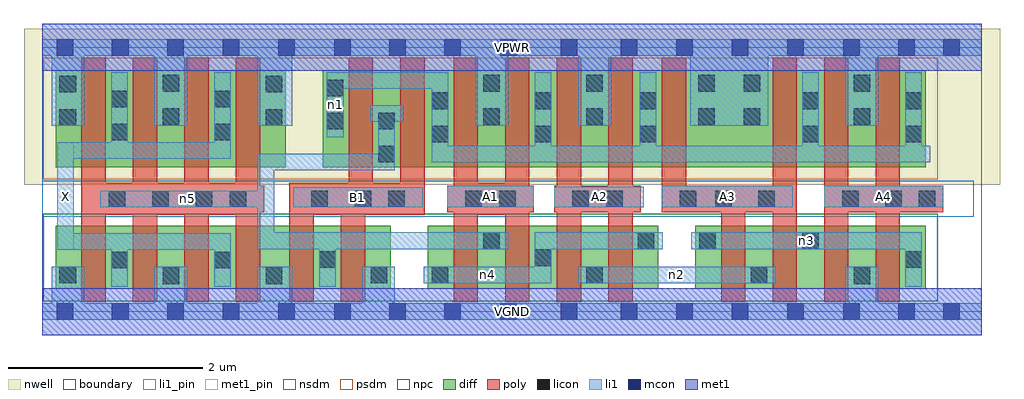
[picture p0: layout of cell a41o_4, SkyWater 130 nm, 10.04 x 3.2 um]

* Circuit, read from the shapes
.subckt a41o_4 A1 A2 A3 A4 B1 VGND VPWR X n1 n2 n3 n4 n5
XM1 X n5 VGND VSUBS sky130_fd_pr__nfet_01v8 w=0.65 l=0.25 m=4
XM2 n5 B1 VGND VSUBS sky130_fd_pr__nfet_01v8 w=0.65 l=0.25 m=2
XM3 n5 A1 n4 VSUBS sky130_fd_pr__nfet_01v8 w=0.65 l=0.25 m=2
XM4 n2 A2 n4 VSUBS sky130_fd_pr__nfet_01v8 w=0.65 l=0.25 m=2
XM5 n2 A3 n3 VSUBS sky130_fd_pr__nfet_01v8 w=0.65 l=0.25 m=2
XM6 VGND A4 n3 VSUBS sky130_fd_pr__nfet_01v8 w=0.65 l=0.25 m=2
XM7 X n5 VPWR n6 sky130_fd_pr__pfet_01v8 w=1 l=0.25 m=4
XM8 n5 B1 n1 n6 sky130_fd_pr__pfet_01v8 w=1 l=0.25 m=2
XM9 VPWR A1 n1 n6 sky130_fd_pr__pfet_01v8 w=1 l=0.25 m=2
XM10 VPWR A2 n1 n6 sky130_fd_pr__pfet_01v8 w=1 l=0.25 m=2
XM11 VPWR A3 n1 n6 sky130_fd_pr__pfet_01v8 w=1 l=0.25 m=2
XM12 VPWR A4 n1 n6 sky130_fd_pr__pfet_01v8 w=1 l=0.25 m=2
.ends

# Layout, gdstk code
import gdstk
lib = gdstk.Library(unit=1e-6, precision=1e-09)
def R(c, l, rs):  # rectangles x0, y0, x1, y1
    for r in rs: c.add(gdstk.rectangle(r[:2], r[2:], *l))
def A(c, l, x, y, w, h, nx, ny, dx, dy):  # array of equal rectangles
    R(c, l, [(x+i*dx, y+j*dy, x+i*dx+w, y+j*dy+h) for i in range(nx) for j in range(ny)])
nwell = (64, 20)
diff = (65, 20)
poly = (66, 20)
licon = (66, 44)
li1_pin = (67, 16)
li1 = (67, 20)
mcon = (67, 44)
met1_pin = (68, 16)
met1 = (68, 20)
nsdm = (93, 44)
psdm = (94, 20)
npc = (95, 20)
boundary = (235, 4)

a41o_4 = lib.new_cell('a41o_4')
R(a41o_4, nwell, [(-0.19,1.305,9.85,2.91), (0,1.305,9.66,2.91)])
R(a41o_4, diff, [(0.135,0.235,3.585,0.885), (3.965,0.235,6.335,0.885), (6.715,0.235,9.085,0.885), (0.135,1.485,2.505,2.485), (2.885,1.485,9.085,2.485)])
A(a41o_4, poly, 0.4, 0.105, 0.25, 2.51, 4, 1, 0.53, 0)
A(a41o_4, poly, 4.23, 0.105, 0.25, 2.51, 4, 1, 0.53, 0)
A(a41o_4, poly, 7.51, 0.105, 0.25, 2.51, 3, 1, 0.53, 0)
R(a41o_4, poly, [(2.54,0.105,2.79,1.325), (3.07,0.105,3.32,1.325), (6.98,0.105,7.23,1.295), (0.4,0.995,2.24,1.325), (2.54,0.995,3.93,1.325), (3.15,0.995,3.4,2.615), (3.68,0.995,3.93,2.615), (4.23,0.995,5.01,1.325), (0.4,1.025,2.28,1.295), (4.165,1.025,5.055,1.295), (5.265,1.025,6.155,1.295), (6.37,1.025,7.76,1.295), (6.37,1.025,6.62,2.615), (8.04,1.025,9.265,1.295)])
R(a41o_4, licon, [(1.235,0.285,1.405,0.455), (2.295,0.285,2.465,0.455), (8.345,0.285,8.515,0.455), (0.175,0.295,0.345,0.465), (3.375,0.295,3.545,0.465), (4.005,0.295,4.175,0.465), (5.595,0.295,5.765,0.465), (7.285,0.295,7.455,0.465), (0.705,0.445,0.875,0.615), (1.765,0.445,1.935,0.615), (2.845,0.45,3.015,0.62), (8.875,0.45,9.045,0.62), (5.065,0.47,5.235,0.64), (4.535,0.645,4.705,0.815), (6.125,0.645,6.295,0.815), (6.755,0.645,6.925,0.815), (7.815,0.645,7.985,0.815), (0.68,1.075,0.85,1.245), (1.13,1.075,1.3,1.245), (1.575,1.075,1.745,1.245), (1.925,1.075,2.095,1.245), (2.765,1.075,2.935,1.245), (3.21,1.075,3.38,1.245), (3.555,1.075,3.725,1.245), (4.35,1.075,4.52,1.245), (4.7,1.075,4.87,1.245), (5.45,1.075,5.62,1.245), (5.8,1.075,5.97,1.245), (6.555,1.075,6.725,1.245), (6.92,1.075,7.09,1.245), (7.365,1.075,7.535,1.245), (8.225,1.075,8.395,1.245), (8.67,1.075,8.84,1.245), (9.015,1.075,9.185,1.245), (3.455,1.535,3.625,1.705), (4.005,1.745,4.175,1.915), (5.065,1.745,5.235,1.915), (6.145,1.745,6.315,1.915), (7.815,1.745,7.985,1.915), (8.875,1.745,9.045,1.915), (0.705,1.765,0.875,1.935), (1.765,1.765,1.935,1.935), (2.925,1.875,3.095,2.045), (3.455,1.875,3.625,2.045), (0.175,1.915,0.345,2.085), (2.295,1.915,2.465,2.085), (1.235,1.925,1.405,2.095), (4.535,1.925,4.705,2.095), (5.595,1.925,5.765,2.095), (6.745,1.925,6.915,2.095), (7.215,1.925,7.385,2.095), (8.345,1.925,8.515,2.095), (4.005,2.085,4.175,2.255), (5.065,2.085,5.235,2.255), (6.145,2.085,6.315,2.255), (7.815,2.085,7.985,2.255), (8.875,2.085,9.045,2.255), (0.705,2.105,0.875,2.275), (1.765,2.105,1.935,2.275), (2.925,2.215,3.095,2.385), (0.175,2.255,0.345,2.425), (2.295,2.255,2.465,2.425), (1.235,2.265,1.405,2.435), (4.535,2.265,4.705,2.435), (5.595,2.265,5.765,2.435), (6.745,2.265,6.915,2.435), (7.215,2.265,7.385,2.435), (8.345,2.265,8.515,2.435)])
R(a41o_4, li1_pin, [(0.15,0.635,0.32,1.745), (2.58,1.075,3.91,1.28), (4.165,1.075,5.055,1.295), (5.265,1.075,6.185,1.285), (6.37,1.075,7.72,1.295), (8.04,1.075,9.265,1.295)])
R(a41o_4, li1, [(0,-0.085,9.66,0.085), (0.095,-0.085,0.43,0.465), (1.15,-0.085,1.49,0.465), (2.21,-0.085,2.57,0.465), (3.29,-0.085,3.625,0.465), (8.26,-0.085,8.6,0.465), (0.705,0.255,0.875,0.805), (1.765,0.255,1.935,0.805), (2.845,0.255,3.015,0.815), (8.875,0.255,9.045,0.815), (3.92,0.295,5.235,0.465), (5.065,0.295,5.235,0.815), (5.51,0.295,7.54,0.465), (0.15,0.635,1.935,0.805), (0.15,0.635,0.32,1.745), (2.21,0.645,4.79,0.815), (2.21,0.645,2.385,1.625), (5.065,0.645,6.38,0.815), (6.675,0.645,9.045,0.815), (0.595,1.075,2.385,1.245), (2.58,1.075,3.91,1.28), (4.165,1.075,5.055,1.295), (5.265,1.075,6.185,1.285), (6.37,1.075,7.72,1.295), (8.04,1.075,9.265,1.295), (2.21,1.455,3.625,1.625), (3.455,1.455,3.625,2.125), (4.005,1.535,9.13,1.705), (4.005,1.535,4.175,2.465), (5.065,1.535,5.235,2.465), (6.145,1.535,6.315,2.465), (7.815,1.535,7.985,2.465), (8.875,1.535,9.045,2.465), (0.15,1.575,1.935,1.745), (0.705,1.575,0.875,2.465), (1.765,1.575,1.935,2.465), (2.925,1.795,3.1,2.465), (0.095,1.915,0.43,2.805), (1.15,1.915,1.49,2.805), (2.21,1.915,2.57,2.805), (4.45,1.915,4.79,2.805), (5.51,1.915,5.85,2.805), (6.665,1.915,7.465,2.805), (8.26,1.915,8.6,2.805), (3.37,1.955,3.71,2.125), (2.925,2.295,4.175,2.465), (0,2.635,9.66,2.805)])
A(a41o_4, mcon, 0.145, -0.085, 0.17, 0.17, 5, 2, 0.57, 2.72)
A(a41o_4, mcon, 4.71, -0.085, 0.17, 0.17, 3, 2, 0.62, 2.72)
A(a41o_4, mcon, 6.52, -0.085, 0.17, 0.17, 3, 2, 0.57, 2.72)
R(a41o_4, mcon, [(3,-0.085,3.17,0.085), (3.565,-0.085,3.735,0.085), (4.135,-0.085,4.305,0.085), (8.235,-0.085,8.405,0.085), (8.805,-0.085,8.975,0.085), (9.265,-0.085,9.435,0.085), (3,2.635,3.17,2.805), (3.565,2.635,3.735,2.805), (4.135,2.635,4.305,2.805), (8.235,2.635,8.405,2.805), (8.805,2.635,8.975,2.805), (9.265,2.635,9.435,2.805)])
R(a41o_4, met1_pin, [(0,-0.24,9.66,0.24), (0,2.48,9.66,2.96)])
R(a41o_4, met1, [(0,-0.24,9.66,0.24), (0,2.48,9.66,2.96)])
R(a41o_4, nsdm, [(0.01,0.11,9.21,1.01)])
R(a41o_4, psdm, [(0.01,1.36,9.21,2.61)])
R(a41o_4, npc, [(0,0.975,9.58,1.345)])
R(a41o_4, boundary, [(0,0,9.66,2.72)])
a41o_4.add(gdstk.Label('A1', (4.61,1.185), layer=67, texttype=5))
a41o_4.add(gdstk.Label('A2', (5.725,1.18), layer=67, texttype=5))
a41o_4.add(gdstk.Label('A3', (7.045,1.185), layer=67, texttype=5))
a41o_4.add(gdstk.Label('A4', (8.652,1.185), layer=67, texttype=5))
a41o_4.add(gdstk.Label('B1', (3.245,1.177), layer=67, texttype=5))
a41o_4.add(gdstk.Label('X', (0.235,1.19), layer=67, texttype=5))
a41o_4.add(gdstk.Label('n2', (6.525,0.38), layer=67, texttype=5))
a41o_4.add(gdstk.Label('n4', (4.577,0.38), layer=67, texttype=5))
a41o_4.add(gdstk.Label('n3', (7.86,0.73), layer=67, texttype=5))
a41o_4.add(gdstk.Label('n5', (1.49,1.16), layer=67, texttype=5))
a41o_4.add(gdstk.Label('n1', (3.012,2.13), layer=67, texttype=5))
a41o_4.add(gdstk.Label('VPWR', (4.83,2.72), layer=68, texttype=5))
a41o_4.add(gdstk.Label('VGND', (4.83,0), layer=68, texttype=5))
a41o_4.add(gdstk.Label('A1', (4.61,1.185), layer=67, texttype=16))
a41o_4.add(gdstk.Label('A2', (5.725,1.18), layer=67, texttype=16))
a41o_4.add(gdstk.Label('A3', (7.045,1.185), layer=67, texttype=16))
a41o_4.add(gdstk.Label('A4', (8.652,1.185), layer=67, texttype=16))
a41o_4.add(gdstk.Label('B1', (3.245,1.177), layer=67, texttype=16))
a41o_4.add(gdstk.Label('X', (0.235,1.19), layer=67, texttype=16))
a41o_4.add(gdstk.Label('VPWR', (4.83,2.72), layer=68, texttype=16))
a41o_4.add(gdstk.Label('VGND', (4.83,0), layer=68, texttype=16))

lib.write_gds('a41o_4.gds')
